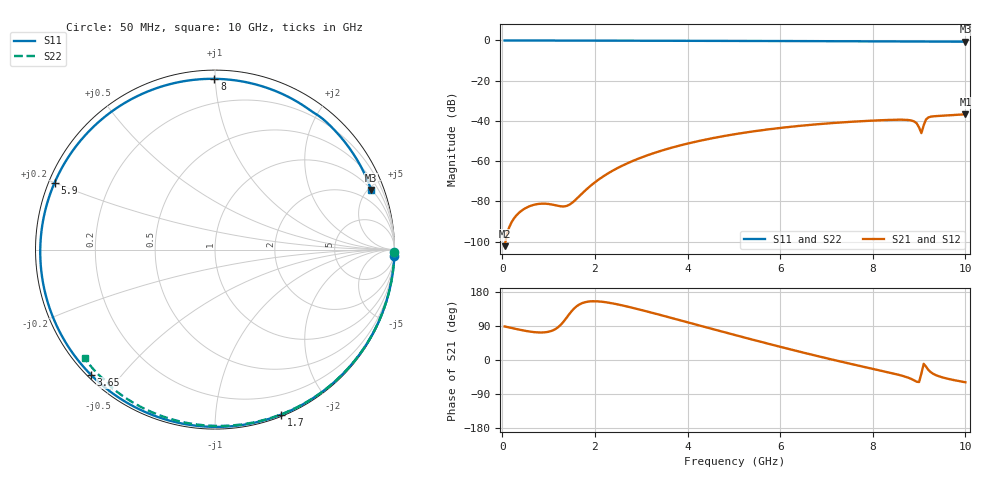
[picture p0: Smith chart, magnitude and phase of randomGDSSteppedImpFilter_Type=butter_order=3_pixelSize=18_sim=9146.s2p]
! freq	dB(S11)	phase(S11)	dB(S12)	phase(S12)
!  dB(S21)	phase(S21)	dB(S22)	phase(S22)
!S-par simulation data
#  GHz  S  DB  R 50
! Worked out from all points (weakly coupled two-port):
!   200 points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, 50 MHz to 10 GHz, reference 50 ohm
!   highest |S21| = -36.70 dB at 10 GHz (marker M1); lowest = -102.2 dB at 50 MHz (marker M2)
!   lowest |S11| = -0.6 dB at 10 GHz (marker M3), VSWR 28.31, Z = 51.9 + j261 ohm
!   |S11| at or under -10 dB: nowhere
!   |S22| runs from -0.5 to 0.0 dB; largest |S21 - S12| = 0
!   S11 on the Smith chart (normalised r, x): 50 MHz: 0, -54; 1.7 GHz: 0.02, -1.48; 3.65 GHz: 0.01, -0.42; 5.9 GHz: 0.02, +0.20; 8 GHz: 0.05, +1.00; 10 GHz: 1.04, +5.23
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0.05  -0.00 -2.1  -102.23 88.6  -102.23 88.6  -0.00 -0.8
0.7  -0.04 -28.9  -81.58 73.4  -81.58 73.4  -0.01 -11.3
1.5  -0.07 -60.6  -80.82 129.2  -80.82 129.2  -0.03 -24.0
1.7  -0.08 -68.2  -76.55 148.7  -76.55 148.7  -0.03 -27.2
1.75  -0.09 -70.1  -75.44 151.1  -75.44 151.1  -0.04 -28.0
2.1  -0.10 -82.9  -68.80 154.4  -68.80 154.4  -0.04 -33.4
2.45  -0.11 -95.3  -63.88 147.8  -63.88 147.8  -0.05 -38.8
3.4  -0.15 -126.8  -55.03 119.3  -55.03 119.3  -0.07 -53.2
3.65  -0.16 -134.7  -53.34 111.1  -53.34 111.1  -0.08 -56.9
4.35  -0.19 -156.2  -49.45 88.0  -49.45 88.0  -0.10 -67.0
5.05  -0.23 -177.2  -46.48 65.1  -46.48 65.1  -0.12 -76.9
5.9  -0.28 157.3  -43.75 38.0  -43.75 38.0  -0.15 -88.5
6.7  -0.33 132.7  -41.85 13.5  -41.85 13.5  -0.19 -99.0
7.4  -0.39 110.2  -40.61 -6.8  -40.61 -6.8  -0.23 -108.0
8  -0.43 90.2  -39.83 -23.3  -39.83 -23.3  -0.28 -115.6
8.35  -0.46 78.2  -39.49 -32.9  -39.49 -32.9  -0.30 -120.0
8.9  -0.52 59.2  -40.33 -54.1  -40.33 -54.1  -0.36 -127.0
8.95  -0.53 57.5  -41.23 -57.5  -41.23 -57.5  -0.37 -127.7
9.05  -0.53 54.2  -46.05 -35.4  -46.05 -35.4  -0.44 -128.9
9.15  -0.50 50.6  -39.24 -17.5  -39.24 -17.5  -0.46 -129.6
9.2  -0.51 48.8  -38.26 -25.9  -38.26 -25.9  -0.44 -130.2
10  -0.61 20.9  -36.70 -58.7  -36.70 -58.7  -0.48 -140.1
